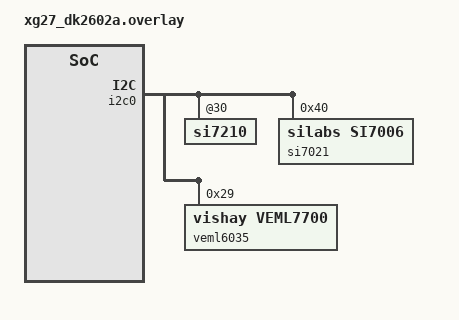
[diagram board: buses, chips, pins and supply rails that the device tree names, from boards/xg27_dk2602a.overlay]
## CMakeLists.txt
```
cmake_minimum_required(VERSION 3.20.0)
find_package(Zephyr REQUIRED HINTS $ENV{ZEPHYR_BASE})
project(xg24_sensor)
target_sources(app PRIVATE src/main.c)
```

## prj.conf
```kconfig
# Console
CONFIG_PRINTK=y
CONFIG_SERIAL=y
CONFIG_UART_CONSOLE=y

# Sensors
CONFIG_I2C=y
CONFIG_SENSOR=y
CONFIG_SI7006=y
CONFIG_VEML7700=y
CONFIG_SI7210=y
CONFIG_REGULATOR=y

# Watchdog
CONFIG_WATCHDOG=y

# Bluetooth
CONFIG_BT=y
CONFIG_BT_DEVICE_NAME="xG27-Sensor"
CONFIG_BT_PERIPHERAL=y
CONFIG_BT_BROADCASTER=y
CONFIG_BT_EXT_ADV=n
```

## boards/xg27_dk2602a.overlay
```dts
/* DTS overlay for xG27 Dev Kit — missing sensor nodes */

/* Enable IMU power rail (might power Si7210 too) */
&sw_imu_enable {
	regulator-always-on;
};

&i2c0 {
	si7210: si7210@30 {
		status = "okay";
	};

	si7021: si7021@40 {
		compatible = "silabs,si7006";
		reg = <0x40>;
	};

	veml6035: veml6035@29 {
		compatible = "vishay,veml7700";
		reg = <0x29>;
	};
};
```

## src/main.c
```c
#include <zephyr/kernel.h>
#include <zephyr/device.h>
#include <zephyr/drivers/sensor.h>
#include <zephyr/drivers/watchdog.h>
#include <zephyr/bluetooth/bluetooth.h>
#include <zephyr/bluetooth/hci.h>
#include <zephyr/sys/printk.h>

#define FW_VERSION "1.0.0"

/* Sensors */
static const struct device *const si7021   = DEVICE_DT_GET(DT_NODELABEL(si7021));
static const struct device *const veml6035 = DEVICE_DT_GET(DT_NODELABEL(veml6035));
static const struct device *const si7210   = DEVICE_DT_GET(DT_NODELABEL(si7210));

/*
 * BLE manufacturer data (company id: 0xFFFF)
 * Payload after company ID (8 bytes):
 *   [0–1]  int16 LE  temperature (centi-°C)
 *   [2]    uint8     humidity (%RH)
 *   [3–4]  uint16 LE ambient light (lux)
 *   [5–6]  int16 LE  magnetic field (µT)
 *   [7]    uint8     sensor flags (bit0=temp/hum, bit1=lux, bit2=mag)
 */
static uint8_t mfr_data[] = {
    0xFF, 0xFF,   /* company id */
    0x00, 0x00,   /* temp */
    0x00,         /* hum */
    0x00, 0x00,   /* lux */
    0x00, 0x00,   /* mag */
    0x00,         /* flags */
};

static struct bt_data ad[] = {
    BT_DATA_BYTES(BT_DATA_FLAGS, BT_LE_AD_NO_BREDR | BT_LE_AD_GENERAL),
    BT_DATA(BT_DATA_NAME_COMPLETE, "xG27-Sensor", 11),
    BT_DATA(BT_DATA_MANUFACTURER_DATA, mfr_data, sizeof(mfr_data)),
};

static bool ble_ready;

static void bt_ready_cb(int err)
{
    if (err) {
        printk("BLE error: %d\n", err);
        return;
    }
    err = bt_le_adv_start(BT_LE_ADV_NCONN, ad, ARRAY_SIZE(ad), NULL, 0);
    if (err == 0) {
        ble_ready = true;
        printk("BLE advertising: xG27-Sensor\n");
    }
}

static void update_ble(int16_t temp_cdeg, uint8_t hum,
                       uint16_t lux, int16_t mag_ut, uint8_t flags)
{
    if (!ble_ready) {
        return;
    }
    mfr_data[2] = (uint8_t)(temp_cdeg & 0xFF);
    mfr_data[3] = (uint8_t)(temp_cdeg >> 8);
    mfr_data[4] = hum;
    mfr_data[5] = (uint8_t)(lux & 0xFF);
    mfr_data[6] = (uint8_t)(lux >> 8);
    mfr_data[7] = (uint8_t)(mag_ut & 0xFF);
    mfr_data[8] = (uint8_t)(mag_ut >> 8);
    mfr_data[9] = flags;
    bt_le_adv_update_data(ad, ARRAY_SIZE(ad), NULL, 0);
}

int main(void)
{
    k_msleep(500);

    /* Hardware watchdog: reset board if main loop stalls > 5 s */
    static int wdt_chan = -1;
#if DT_NODE_HAS_STATUS(DT_NODELABEL(wdog0), okay)
    {
        const struct device *wdt = DEVICE_DT_GET(DT_NODELABEL(wdog0));
        if (device_is_ready(wdt)) {
            struct wdt_timeout_cfg cfg = {
                .window  = {.min = 0U, .max = 5000U},
                .callback = NULL,
                .flags   = WDT_FLAG_RESET_SOC,
            };
            wdt_chan = wdt_install_timeout(wdt, &cfg);
            wdt_setup(wdt, WDT_OPT_PAUSE_HALTED_BY_DBG);
            printk("Watchdog armed (5 s)\n");
        }
    }
#endif

    bt_enable(bt_ready_cb);

    while (1) {
        struct sensor_value temp, hum, light, mag;
        int16_t  temp_cdeg = 0;
        uint8_t  hum_pct   = 0;
        uint16_t lux       = 0;
        int16_t  mag_ut    = 0;
        uint8_t  flags     = 0;

        if (device_is_ready(si7021) &&
            sensor_sample_fetch(si7021) == 0) {
            sensor_channel_get(si7021, SENSOR_CHAN_AMBIENT_TEMP, &temp);
            sensor_channel_get(si7021, SENSOR_CHAN_HUMIDITY, &hum);
            temp_cdeg = (int16_t)(temp.val1 * 100 +
                        (temp.val2 < 0 ? -(-temp.val2 / 10000)
                                       :   temp.val2 / 10000));
            hum_pct = (uint8_t)hum.val1;
            flags |= 1;
        }

        if (device_is_ready(veml6035) &&
            sensor_sample_fetch(veml6035) == 0) {
            sensor_channel_get(veml6035, SENSOR_CHAN_LIGHT, &light);
            lux = (uint16_t)light.val1;
            flags |= 2;
        }

        if (device_is_ready(si7210) &&
            sensor_sample_fetch(si7210) == 0) {
            sensor_channel_get(si7210, SENSOR_CHAN_MAGN_Z, &mag);
            /* Driver returns Gauss; 1 G = 100 µT.
             * Earth field (~0.44 G) lives entirely in val2, so include it:
             *   µT = val1 * 100 + val2 / 10000  */
            mag_ut = (int16_t)(mag.val1 * 100 + mag.val2 / 10000);
            flags |= 4;
        }

        update_ble(temp_cdeg, hum_pct, lux, mag_ut, flags);

        printk("{\"t\":%d.%02d,\"h\":%d,\"l\":%d,\"m\":%d,\"f\":%d}\n",
               temp_cdeg / 100, abs(temp_cdeg % 100),
               hum_pct, lux, mag_ut, flags);

        if (wdt_chan >= 0) {
            /* Defined at compile time only when wdog0 exists */
#if DT_NODE_HAS_STATUS(DT_NODELABEL(wdog0), okay)
            const struct device *wdt = DEVICE_DT_GET(DT_NODELABEL(wdog0));
            wdt_feed(wdt, wdt_chan);
#endif
        }

        k_msleep(1000);
    }

    return 0;
}
```
